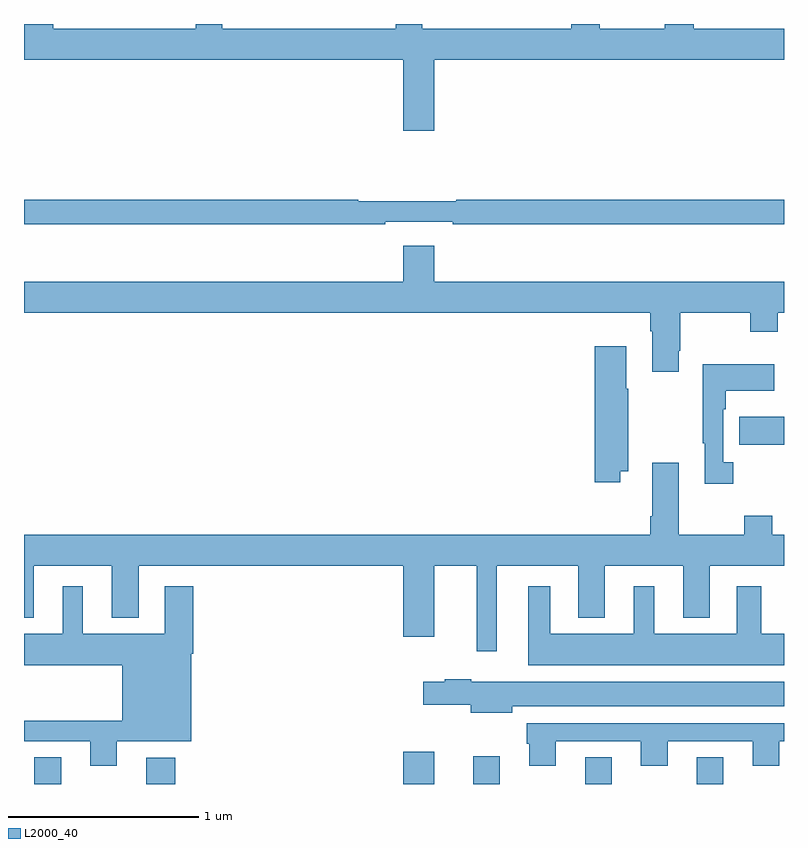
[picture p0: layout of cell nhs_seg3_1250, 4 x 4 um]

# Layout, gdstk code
import gdstk
lib = gdstk.Library(unit=1e-6, precision=1e-09)
def R(c, l, rs):  # rectangles x0, y0, x1, y1
    for r in rs: c.add(gdstk.rectangle(r[:2], r[2:], *l))
def P(c, l, *ps):  # polygons
    for p in ps: c.add(gdstk.Polygon(p, *l))
L2000_40 = (2000, 40)

nhs_seg3_1250 = lib.new_cell('nhs_seg3_1250')
R(nhs_seg3_1250, L2000_40, [(175.055,734.4,175.195,734.54), (175.643,734.4,175.796,734.539), (176.996,734.4,177.16,734.569), (177.365,734.4,177.505,734.545), (177.953,734.4,178.093,734.54), (178.541,734.4,178.681,734.54), (178.765,736.186,179,736.333)])
P(nhs_seg3_1250, L2000_40, [(177.16,738.212),(179,738.212),(179,738.376),(178.526,738.376),(178.526,738.4),(178.373,738.4),(178.373,738.376),(178.029,738.376),(178.029,738.4),(177.881,738.4),(177.881,738.376),(177.097,738.376),(177.097,738.4),(176.957,738.4),(176.957,738.376),(176.043,738.376),(176.043,738.4),(175.905,738.4),(175.905,738.376),(175.153,738.376),(175.153,738.4),(175.001,738.4),(175.001,738.376),(175,738.376),(175,738.212),(176.996,738.212),(176.996,737.838),(177.16,737.838)],
  [(176.9,737.358),(177.256,737.358),(177.256,737.346),(179,737.346),(179,737.474),(177.274,737.474),(177.274,737.467),(176.758,737.467),(176.758,737.474),(175,737.474),(175,737.346),(176.9,737.346)],
  [(178.447,736.681),(178.455,736.681),(178.455,736.88),(178.822,736.88),(178.822,736.781),(178.968,736.781),(178.968,736.88),(179,736.88),(179,737.044),(177.16,737.044),(177.16,737.233),(176.996,737.233),(176.996,737.044),(175,737.044),(175,736.88),(178.295,736.88),(178.295,736.784),(178.307,736.784),(178.307,736.569),(178.447,736.569)],
  [(178.138,736.046),(178.179,736.046),(178.179,736.481),(178.171,736.481),(178.171,736.705),(178.004,736.705),(178.004,735.987),(178.138,735.987)],
  [(178.732,736.094),(178.68,736.094),(178.68,736.373),(178.693,736.373),(178.693,736.469),(178.949,736.469),(178.949,736.609),(178.572,736.609),(178.572,736.193),(178.583,736.193),(178.583,735.981),(178.732,735.981)],
  [(177.487,735.548),(177.917,735.548),(177.917,735.275),(178.057,735.275),(178.057,735.548),(178.469,735.548),(178.469,735.275),(178.609,735.275),(178.609,735.548),(179,735.548),(179,735.712),(178.939,735.712),(178.939,735.811),(178.792,735.811),(178.792,735.712),(178.447,735.712),(178.447,736.09),(178.307,736.09),(178.307,735.808),(178.295,735.808),(178.295,735.712),(175,735.712),(175,735.275),(175.051,735.275),(175.051,735.548),(175.463,735.548),(175.463,735.275),(175.603,735.275),(175.603,735.548),(176.996,735.548),(176.996,735.174),(177.16,735.174),(177.16,735.548),(177.383,735.548),(177.383,735.099),(177.487,735.099)],
  [(175.489,734.624),(175.879,734.624),(175.879,735.086),(175.892,735.086),(175.892,735.442),(175.742,735.442),(175.742,735.19),(175.309,735.19),(175.309,735.442),(175.205,735.442),(175.205,735.19),(175,735.19),(175,735.026),(175.517,735.026),(175.517,734.734),(175,734.734),(175,734.625),(175.349,734.625),(175.349,734.496),(175.489,734.496)],
  [(179,735.19),(178.879,735.19),(178.879,735.442),(178.751,735.442),(178.751,735.19),(178.318,735.19),(178.318,735.442),(178.208,735.442),(178.208,735.19),(177.769,735.19),(177.769,735.442),(177.653,735.442),(177.653,735.026),(179,735.026)],
  [(177.571,734.81),(179,734.81),(179,734.938),(177.354,734.938),(177.354,734.951),(177.214,734.951),(177.214,734.938),(177.102,734.938),(177.102,734.816),(177.35,734.816),(177.35,734.774),(177.571,734.774)],
  [(177.799,734.625),(178.247,734.625),(178.247,734.496),(178.387,734.496),(178.387,734.625),(178.835,734.625),(178.835,734.496),(178.975,734.496),(178.975,734.625),(179,734.625),(179,734.721),(177.647,734.721),(177.647,734.613),(177.659,734.613),(177.659,734.496),(177.799,734.496)])

lib.write_gds('nhs_seg3_1250.gds')
